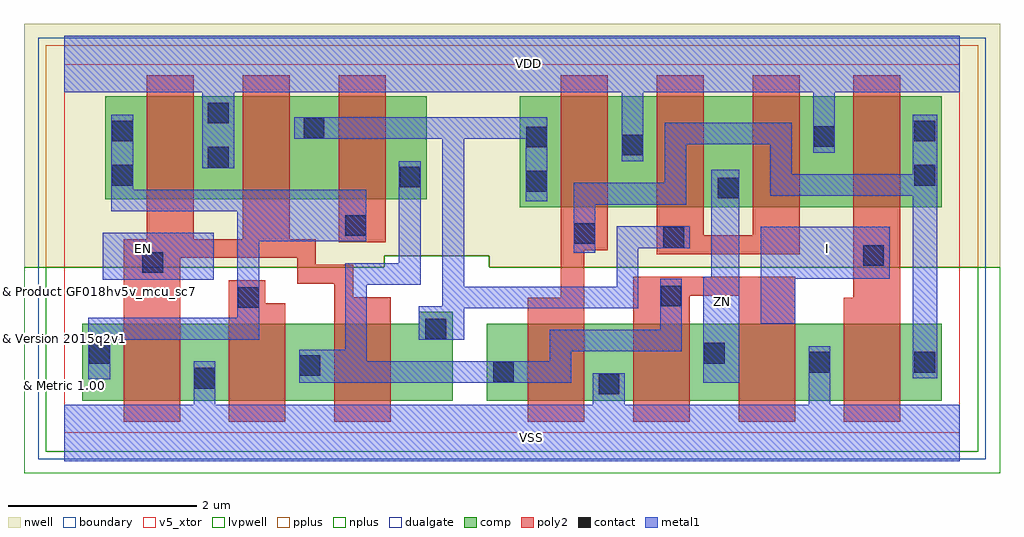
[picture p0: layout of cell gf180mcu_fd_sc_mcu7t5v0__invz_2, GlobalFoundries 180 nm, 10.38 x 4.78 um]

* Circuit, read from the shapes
.subckt gf180mcu_fd_sc_mcu7t5v0__invz_2 EN I VDD VSS ZN
XM1 VSS EN n1 VSUBS nfet_05v0 w=0.82u l=0.6u
XM2 n2 n1 VSS VSUBS nfet_05v0 w=0.82u l=0.6u
XM3 n3 EN n2 VSUBS nfet_05v0 w=0.82u l=0.6u
XM4 VSS n4 n2 VSUBS nfet_05v0 w=0.82u l=0.6u
XM5 ZN n2 VSS VSUBS nfet_05v0 w=0.82u l=0.6u m=2
XM6 n4 I VSS VSUBS nfet_05v0 w=0.82u l=0.6u
XM7 VDD EN n1 n5 pfet_05v0 w=1.095u l=0.5u
XM8 n3 EN VDD n5 pfet_05v0 w=1.095u l=0.5u
XM9 n2 n1 n3 n5 pfet_05v0 w=1.095u l=0.5u
XM10 VDD n4 n3 n5 pfet_05v0 w=1.18u l=0.5u
XM11 ZN n3 VDD n5 pfet_05v0 w=1.18u l=0.5u m=2
XM12 n4 I VDD n5 pfet_05v0 w=1.18u l=0.5u
.ends

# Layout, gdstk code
import gdstk
lib = gdstk.Library(unit=1e-6, precision=1e-09)
def R(c, l, rs):  # rectangles x0, y0, x1, y1
    for r in rs: c.add(gdstk.rectangle(r[:2], r[2:], *l))
def P(c, l, *ps):  # polygons
    for p in ps: c.add(gdstk.Polygon(p, *l))
boundary = (0, 0)
nwell = (21, 0)
comp = (22, 0)
poly2 = (30, 0)
pplus = (31, 0)
nplus = (32, 0)
contact = (33, 0)
metal1 = (34, 0)
dualgate = (55, 0)
v5_xtor = (112, 1)
lvpwell = (204, 0)

gf180mcu_fd_sc_mcu7t5v0_ = lib.new_cell('gf180mcu_fd_sc_mcu7t5v0__invz_2')
R(gf180mcu_fd_sc_mcu7t5v0_, boundary, [(0,0,9.52,3.92)])
P(gf180mcu_fd_sc_mcu7t5v0_, nwell, [(-0.43,1.76),(-0.43,4.35),(9.95,4.35),(9.95,1.76),(4.52,1.76),(4.52,1.885),(3.4,1.885),(3.4,1.76)])
R(gf180mcu_fd_sc_mcu7t5v0_, comp, [(4.49,0.34,9.33,1.16), (4.84,2.4,9.33,3.58), (0.435,2.485,3.855,3.58)])
P(gf180mcu_fd_sc_mcu7t5v0_, comp, [(0.19,0.34),(0.19,1.16),(3.77,1.16),(3.77,1.285),(4.13,1.285),(4.13,0.34)])
R(gf180mcu_fd_sc_mcu7t5v0_, poly2, [(2.915,2.025,3.415,3.8)])
P(gf180mcu_fd_sc_mcu7t5v0_, poly2, [(1.75,0.12),(1.75,1.62),(2.135,1.62),(2.135,1.38),(2.35,1.38),(2.35,0.12)],
  [(0.63,0.12),(0.63,2.06),(0.875,2.06),(0.875,3.8),(1.375,3.8),(1.375,2.06),(1.895,2.06),(1.895,3.8),(2.395,3.8),(2.395,2.06),(2.675,2.06),(2.675,1.785),(3.07,1.785),(3.07,1.44),(3.47,1.44),(3.47,0.12),(2.87,0.12),(2.87,1.585),(2.475,1.585),(2.475,1.86),(1.23,1.86),(1.23,0.12)],
  [(4.93,0.12),(4.93,1.435),(5.28,1.435),(5.28,3.8),(5.78,3.8),(5.78,1.94),(5.53,1.94),(5.53,0.12)],
  [(6.05,0.12),(6.05,1.66),(7.77,1.66),(7.77,0.12),(7.17,0.12),(7.17,1.46),(6.65,1.46),(6.65,0.12)],
  [(6.3,1.9),(6.3,3.8),(6.8,3.8),(6.8,2.1),(7.32,2.1),(7.32,3.8),(7.82,3.8),(7.82,1.9)],
  [(8.29,0.12),(8.29,1.435),(8.39,1.435),(8.39,3.8),(8.89,3.8),(8.89,0.12)])
P(gf180mcu_fd_sc_mcu7t5v0_, pplus, [(-0.2,1.76),(-0.2,4.12),(9.72,4.12),(9.72,1.76),(4.52,1.76),(4.52,1.885),(3.4,1.885),(3.4,1.76)])
P(gf180mcu_fd_sc_mcu7t5v0_, nplus, [(-0.2,-0.2),(-0.2,1.76),(3.4,1.76),(3.4,1.885),(4.52,1.885),(4.52,1.76),(9.72,1.76),(9.72,-0.2)])
R(gf180mcu_fd_sc_mcu7t5v0_, contact, [(5.68,0.41,5.9,0.63), (1.38,0.47,1.6,0.69), (4.56,0.535,4.78,0.755), (2.5,0.605,2.72,0.825), (7.92,0.64,8.14,0.86), (9.04,0.64,9.26,0.86), (0.26,0.735,0.48,0.955), (6.8,0.735,7.02,0.955), (3.84,0.995,4.06,1.215), (1.845,1.33,2.065,1.55), (6.34,1.345,6.56,1.565), (0.83,1.7,1.05,1.92), (8.495,1.775,8.715,1.995), (6.37,1.97,6.59,2.19), (5.42,2.01,5.64,2.23), (2.985,2.095,3.205,2.315), (6.95,2.495,7.17,2.715), (4.91,2.565,5.13,2.785), (3.565,2.61,3.785,2.83), (0.505,2.63,0.725,2.85), (9.04,2.63,9.26,2.85), (1.525,2.82,1.745,3.04), (5.93,2.95,6.15,3.17), (4.91,3.035,5.13,3.255), (7.97,3.04,8.19,3.26), (0.505,3.1,0.725,3.32), (9.04,3.1,9.26,3.32), (2.545,3.13,2.765,3.35), (1.525,3.29,1.745,3.51)])
R(gf180mcu_fd_sc_mcu7t5v0_, metal1, [(0.41,1.625,1.59,2.125)])
P(gf180mcu_fd_sc_mcu7t5v0_, metal1, [(0.255,0.57),(0.255,1.225),(1.84,1.225),(1.84,2.355),(0.5,2.355),(0.5,3.38),(0.73,3.38),(0.73,2.585),(3.21,2.585),(3.21,2.035),(2.07,2.035),(2.07,0.99),(0.485,0.99),(0.485,0.57)],
  [(2.495,0.53),(2.495,0.885),(2.985,0.885),(2.985,1.805),(3.555,1.805),(3.555,2.89),(3.79,2.89),(3.79,1.575),(3.215,1.575),(3.215,0.76),(5.16,0.76),(5.16,1.095),(6.335,1.095),(6.335,1.64),(6.565,1.64),(6.565,0.865),(5.39,0.865),(5.39,0.53)],
  [(3.77,0.99),(3.77,1.345),(4.02,1.345),(4.02,3.125),(2.445,3.125),(2.445,3.355),(5.135,3.355),(5.135,2.465),(4.905,2.465),(4.905,3.125),(4.25,3.125),(4.25,1.555),(5.875,1.555),(5.875,2.195),(6.65,2.195),(6.65,1.965),(6.105,1.965),(6.105,1.325),(4.25,1.325),(4.25,0.99)],
  [(6.795,0.53),(6.795,1.66),(6.88,1.66),(6.88,2.8),(7.175,2.8),(7.175,0.53)],
  [(7.405,1.16),(7.405,2.19),(8.775,2.19),(8.775,1.64),(7.77,1.64),(7.77,1.16)],
  [(9.02,0.58),(9.02,2.52),(7.505,2.52),(7.505,3.07),(6.615,3.07),(6.615,2.425),(5.645,2.425),(5.645,1.915),(5.415,1.915),(5.415,2.66),(6.385,2.66),(6.385,3.3),(7.735,3.3),(7.735,2.75),(9.02,2.75),(9.02,3.38),(9.285,3.38),(9.285,0.58)],
  [(0,-0.3),(0,0.3),(1.375,0.3),(1.375,0.76),(1.605,0.76),(1.605,0.3),(5.62,0.3),(5.62,0.635),(5.96,0.635),(5.96,0.3),(7.915,0.3),(7.915,0.92),(8.145,0.92),(8.145,0.3),(9.52,0.3),(9.52,-0.3)],
  [(1.465,2.815),(1.465,3.62),(0,3.62),(0,4.22),(9.52,4.22),(9.52,3.62),(8.195,3.62),(8.195,2.98),(7.965,2.98),(7.965,3.62),(6.155,3.62),(6.155,2.89),(5.925,2.89),(5.925,3.62),(1.805,3.62),(1.805,2.815)])
R(gf180mcu_fd_sc_mcu7t5v0_, dualgate, [(-0.28,-0.28,9.8,4.2)])
R(gf180mcu_fd_sc_mcu7t5v0_, v5_xtor, [(0,0,9.52,3.92)])
P(gf180mcu_fd_sc_mcu7t5v0_, lvpwell, [(-0.43,-0.43),(-0.43,1.76),(3.4,1.76),(3.4,1.885),(4.52,1.885),(4.52,1.76),(9.95,1.76),(9.95,-0.43)])
gf180mcu_fd_sc_mcu7t5v0_.add(gdstk.Label('VDD', (4.935,3.925), layer=34, texttype=10))
gf180mcu_fd_sc_mcu7t5v0_.add(gdstk.Label('VSS', (4.97,-0.055), layer=34, texttype=10))
gf180mcu_fd_sc_mcu7t5v0_.add(gdstk.Label('ZN', (7,1.4), layer=34, texttype=10))
gf180mcu_fd_sc_mcu7t5v0_.add(gdstk.Label('EN', (0.84,1.96), layer=34, texttype=10))
gf180mcu_fd_sc_mcu7t5v0_.add(gdstk.Label('I', (8.12,1.96), layer=34, texttype=10))
gf180mcu_fd_sc_mcu7t5v0_.add(gdstk.Label('& Vendor GLOBALFOUNDRIES', (0,2), layer=63, texttype=63))
gf180mcu_fd_sc_mcu7t5v0_.add(gdstk.Label('& Product GF018hv5v_mcu_sc7', (0,1.5), layer=63, texttype=63))
gf180mcu_fd_sc_mcu7t5v0_.add(gdstk.Label('& Version 2015q2v1', (0,1), layer=63, texttype=63))
gf180mcu_fd_sc_mcu7t5v0_.add(gdstk.Label('& Metric 1.00', (0,0.5), layer=63, texttype=63))

lib.write_gds('gf180mcu_fd_sc_mcu7t5v0__invz_2.gds')
